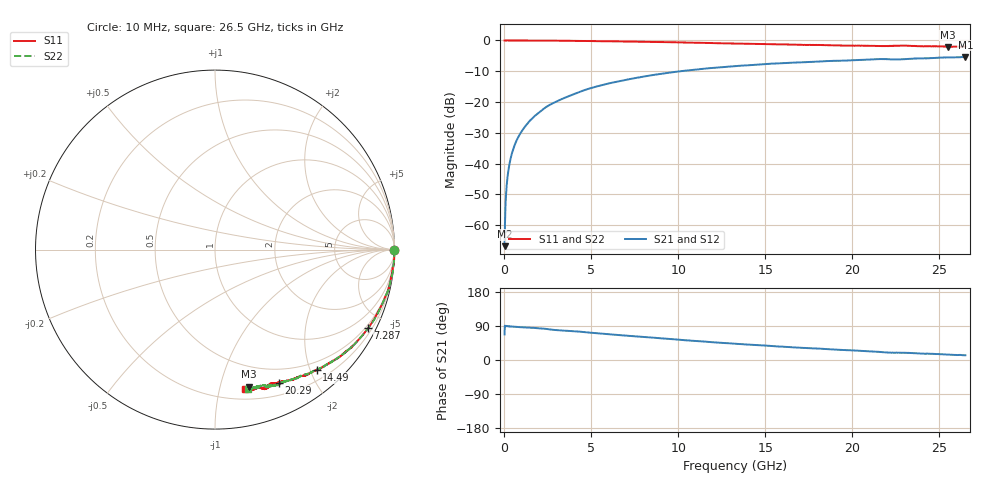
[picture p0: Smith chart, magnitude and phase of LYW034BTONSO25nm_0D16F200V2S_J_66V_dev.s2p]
!Keysight Technologies,N5222B,MY61253708,A.15.00.15
!Date: Wednesday, June 19, 2024 09:16:23
!Correction: S11(C  2-Port  )
!S21(C  2-Port  )
!S12(C  2-Port  )
!S22(C  2-Port  )
!S2P File: Measurements: S11, S21, S12, S22:
# Hz S  RI  R 50
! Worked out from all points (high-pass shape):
!   2651 points, 10 MHz to 26.5 GHz, reference 50 ohm
!   highest |S21| = -5.35 dB at 26.5 GHz (marker M1); lowest = -66.9 dB at 10 MHz (marker M2)
!   |S21| within 3 dB of the highest: 13.27 GHz to end of sweep
!   lowest |S11| = -2.1 dB at 25.5 GHz (marker M3), VSWR 8.41, Z = 15.3 - j61.5 ohm
!   |S11| at or under -10 dB: nowhere
!   |S22| runs from -2.0 to 0.0 dB; largest |S21 - S12| = 0.0067
!   S11 on the Smith chart (normalised r, x): 10 MHz: open; 7.287 GHz: 0.38, -4.09; 14.49 GHz: 0.36, -2.10; 20.29 GHz: 0.33, -1.54; 26.5 GHz: 0.28, -1.20
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1e7  0.9986 -0.00265  0.000173 0.000419  2.76e-05 0.000544  0.9984 -0.00115
7.997358e7  0.9998 -0.00581  -1.4e-05 0.00274  2.13e-05 0.00275  0.9993 -0.00536
1.699396e8  0.9998 -0.0121  6.9e-05 0.00578  6.54e-05 0.00582  0.9996 -0.0114
2.199208e8  0.9998 -0.0156  0.000138 0.00747  0.000134 0.00752  0.9993 -0.0147
2.798981e8  0.9998 -0.0196  0.00013 0.00949  0.000195 0.00963  0.9996 -0.0188
3.798604e8  0.9994 -0.0269  0.00037 0.0129  0.00036 0.013  0.9993 -0.0259
5.198075e8  0.999 -0.0357  0.000657 0.0176  0.000639 0.0177  0.9992 -0.035
8.796717e8  0.9977 -0.0602  0.00174 0.0296  0.00177 0.0299  0.997 -0.0591
1.479445e9  0.9899 -0.1019  0.00421 0.0501  0.00421 0.0504  0.9929 -0.0978
2.349117e9  0.9806 -0.1563  0.0109 0.0803  0.0111 0.0809  0.982 -0.156
3.208792e9  0.9683 -0.2121  0.0223 0.1064  0.0226 0.1071  0.9688 -0.2105
4.428332e9  0.9393 -0.2859  0.0405 0.1446  0.041 0.1455  0.9414 -0.2824
7.287253e9  0.8518 -0.4388  0.1068 0.2125  0.1083 0.2135  0.8547 -0.436
8.846664e9  0.794 -0.5083  0.1506 0.2393  0.1523 0.2401  0.7964 -0.5057
1.3255e10  0.6143 -0.6455  0.2798 0.2607  0.2823 0.2606  0.6198 -0.6432
1.449453e10  0.5665 -0.6703  0.3117 0.2557  0.3143 0.2555  0.5721 -0.6662
1.767333e10  0.4404 -0.7206  0.3854 0.2299  0.3891 0.2282  0.4534 -0.7178
2.029234e10  0.3555 -0.7422  0.435 0.2013  0.4384 0.1987  0.3728 -0.7438
2.209166e10  0.3061 -0.7496  0.4664 0.166  0.4684 0.1631  0.3024 -0.7564
2.308129e10  0.2772 -0.7776  0.4711 0.1616  0.4723 0.1608  0.2796 -0.7592
2.550038e10  0.1882 -0.7645  0.5139 0.1283  0.5157 0.1281  0.2107 -0.7692
2.65e10  0.1695 -0.7793  0.5273 0.1174  0.5268 0.1134  0.1842 -0.779
